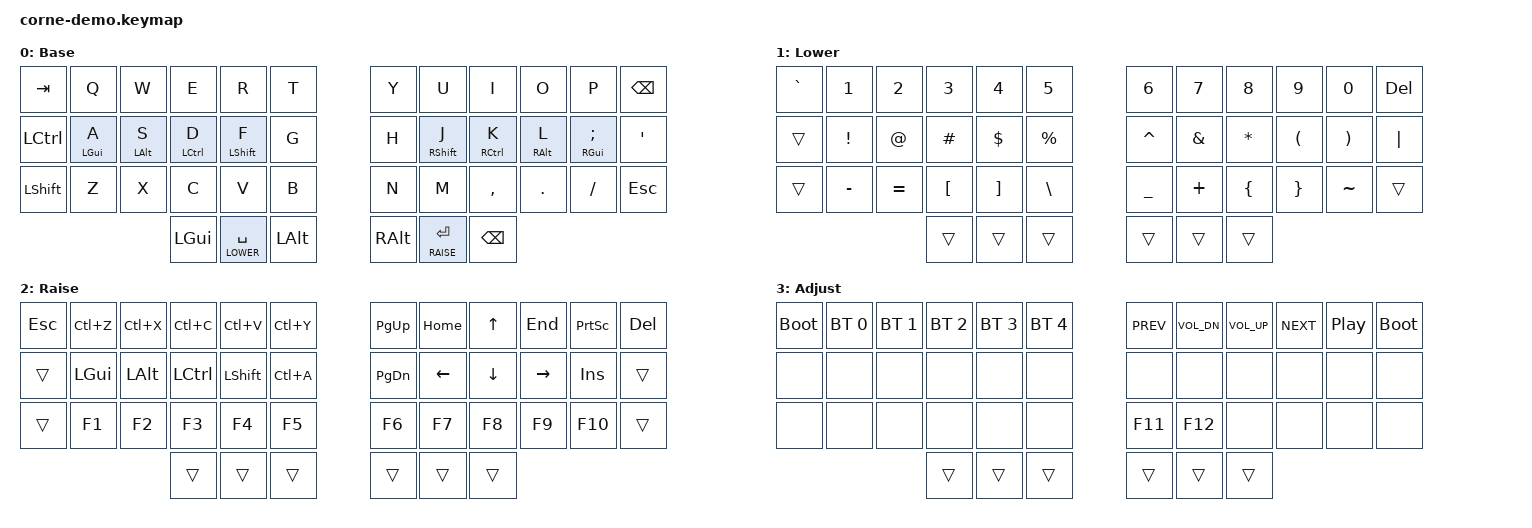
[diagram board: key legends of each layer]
/*
 * The sample keymap that ZMK Keymap Overlay shows before you choose your own.
 * Written for this repository (MIT). It is laid out for a 6-column Corne.
 *
 * data/keymaps/corne.json and data/layouts/corne.json are generated from this file
 * and ZMK's Corne layout; see docs/development.md.
 */

#include <behaviors.dtsi>
#include <dt-bindings/zmk/bt.h>
#include <dt-bindings/zmk/keys.h>

#define BASE   0
#define LOWER  1
#define RAISE  2
#define ADJUST 3

/ {
    behaviors {
        hm: home_row_mod {
            compatible = "zmk,behavior-hold-tap";
            #binding-cells = <2>;
            flavor = "balanced";
            tapping-term-ms = <280>;
            quick-tap-ms = <175>;
            bindings = <&kp>, <&kp>;
        };
    };

    conditional_layers {
        compatible = "zmk,conditional-layers";

        adjust_layer {
            if-layers = <LOWER RAISE>;
            then-layer = <ADJUST>;
        };
    };

    combos {
        compatible = "zmk,combos";

        combo_esc {
            timeout-ms = <40>;
            key-positions = <1 2>;
            bindings = <&kp ESC>;
        };

        combo_caps_word {
            timeout-ms = <40>;
            key-positions = <16 19>;
            bindings = <&caps_word>;
        };
    };

    keymap {
        compatible = "zmk,keymap";

        base_layer {
            display-name = "Base";
            bindings = <
&kp TAB    &kp Q        &kp W        &kp E         &kp R         &kp T        &kp Y   &kp U         &kp I         &kp O        &kp P          &kp BSPC
&kp LCTRL  &hm LGUI A   &hm LALT S   &hm LCTRL D   &hm LSHFT F   &kp G        &kp H   &hm RSHFT J   &hm RCTRL K   &hm RALT L   &hm RGUI SEMI  &kp SQT
&kp LSHFT  &kp Z        &kp X        &kp C         &kp V         &kp B        &kp N   &kp M         &kp COMMA     &kp DOT      &kp FSLH       &kp ESC
                        &kp LGUI     &lt LOWER SPACE  &kp LALT                &kp RALT  &lt RAISE ENTER  &kp BSPC
            >;
        };

        lower_layer {
            display-name = "Lower";
            bindings = <
&kp GRAVE  &kp N1       &kp N2       &kp N3        &kp N4        &kp N5       &kp N6      &kp N7      &kp N8      &kp N9      &kp N0      &kp DEL
&trans     &kp EXCL     &kp AT       &kp HASH      &kp DLLR      &kp PRCNT    &kp CARET   &kp AMPS    &kp STAR    &kp LPAR    &kp RPAR    &kp PIPE
&trans     &kp MINUS    &kp EQUAL    &kp LBKT      &kp RBKT      &kp BSLH     &kp UNDER   &kp PLUS    &kp LBRC    &kp RBRC    &kp TILDE   &trans
                        &trans       &trans        &trans                     &trans      &trans      &trans
            >;
        };

        raise_layer {
            display-name = "Raise";
            bindings = <
&kp ESC    &kp LC(Z)    &kp LC(X)    &kp LC(C)     &kp LC(V)     &kp LC(Y)    &kp PG_UP   &kp HOME    &kp UP      &kp END     &kp PSCRN   &kp DEL
&trans     &kp LGUI     &kp LALT     &kp LCTRL     &kp LSHFT     &kp LC(A)    &kp PG_DN   &kp LEFT    &kp DOWN    &kp RIGHT   &kp INS     &trans
&trans     &kp F1       &kp F2       &kp F3        &kp F4        &kp F5       &kp F6      &kp F7      &kp F8      &kp F9      &kp F10     &trans
                        &trans       &trans        &trans                     &trans      &trans      &trans
            >;
        };

        adjust_layer {
            display-name = "Adjust";
            bindings = <
&bootloader  &bt BT_SEL 0  &bt BT_SEL 1  &bt BT_SEL 2  &bt BT_SEL 3  &bt BT_SEL 4    &kp C_PREV  &kp C_VOL_DN  &kp C_VOL_UP  &kp C_NEXT  &kp C_PP  &bootloader
&none        &none         &none         &none         &none         &none           &none       &none         &none         &none       &none     &none
&none        &none         &none         &none         &none         &none           &kp F11     &kp F12       &none         &none       &none     &none
                           &trans        &trans        &trans                        &trans      &trans        &trans
            >;
        };
    };
};
